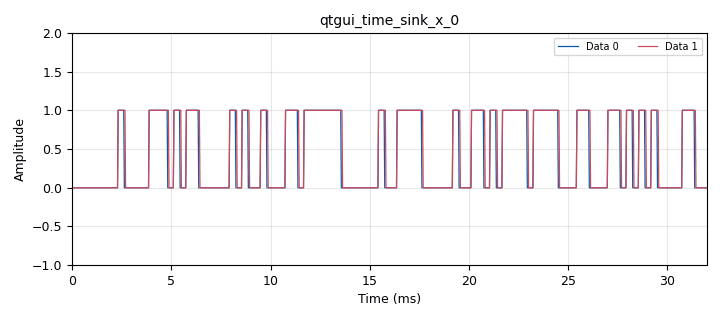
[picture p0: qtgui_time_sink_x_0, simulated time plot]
<?xml version='1.0' encoding='utf-8'?>
<?grc format='1' created='3.7.7'?>
<flow_graph>
<block>
<key>options</key>
<param><key>id</key><value>analog_dpll</value></param>
<param><key>generate_options</key><value>qt_gui</value></param>
<param><key>category</key><value>Custom</value></param>
<param><key>run_options</key><value>run</value></param>
</block>
<block>
<key>variable</key>
<param><key>id</key><value>samp_rate</value></param>
<param><key>value</key><value>32000</value></param>
</block>
<block>
<key>analog_random_source_x</key>
<param><key>id</key><value>analog_random_source_x_0</value></param>
<param><key>type</key><value>byte</value></param>
<param><key>min</key><value>0</value></param>
<param><key>max</key><value>2</value></param>
<param><key>num_samps</key><value>1000</value></param>
<param><key>repeat</key><value>True</value></param>
</block>
<block>
<key>blocks_repeat</key>
<param><key>id</key><value>blocks_repeat_0</value></param>
<param><key>type</key><value>byte</value></param>
<param><key>interp</key><value>10</value></param>
</block>
<block>
<key>blocks_char_to_float</key>
<param><key>id</key><value>blocks_char_to_float_0_0</value></param>
<param><key>scale</key><value>1</value></param>
</block>
<block>
<key>blocks_char_to_float</key>
<param><key>id</key><value>blocks_char_to_float_0</value></param>
<param><key>scale</key><value>1</value></param>
</block>
<block>
<key>analog_dpll_bb</key>
<param><key>id</key><value>analog_dpll_bb_0</value></param>
<param><key>period</key><value>1.0/1500</value></param>
<param><key>gain</key><value>1</value></param>
</block>
<block>
<key>blocks_throttle</key>
<param><key>id</key><value>blocks_throttle_0</value></param>
<param><key>type</key><value>byte</value></param>
<param><key>samples_per_second</key><value>samp_rate</value></param>
</block>
<block>
<key>qtgui_time_sink_x</key>
<param><key>id</key><value>qtgui_time_sink_x_0</value></param>
<param><key>type</key><value>float</value></param>
<param><key>name</key><value></value></param>
<param><key>size</key><value>1024</value></param>
<param><key>srate</key><value>samp_rate</value></param>
<param><key>ymax</key><value>2</value></param>
<param><key>nconnections</key><value>2</value></param>
<param><key>label1</key><value></value></param>
<param><key>color1</key><value>"blue"</value></param>
<param><key>label2</key><value></value></param>
<param><key>color2</key><value>"red"</value></param>
</block>
<connection><source_block_id>analog_random_source_x_0</source_block_id><sink_block_id>blocks_repeat_0</sink_block_id><source_key>0</source_key><sink_key>0</sink_key></connection>
<connection><source_block_id>blocks_repeat_0</source_block_id><sink_block_id>blocks_throttle_0</sink_block_id><source_key>0</source_key><sink_key>0</sink_key></connection>
<connection><source_block_id>blocks_char_to_float_0</source_block_id><sink_block_id>qtgui_time_sink_x_0</sink_block_id><source_key>0</source_key><sink_key>1</sink_key></connection>
<connection><source_block_id>blocks_char_to_float_0_0</source_block_id><sink_block_id>qtgui_time_sink_x_0</sink_block_id><source_key>0</source_key><sink_key>0</sink_key></connection>
<connection><source_block_id>analog_dpll_bb_0</source_block_id><sink_block_id>blocks_char_to_float_0</sink_block_id><source_key>0</source_key><sink_key>0</sink_key></connection>
<connection><source_block_id>blocks_throttle_0</source_block_id><sink_block_id>blocks_char_to_float_0_0</sink_block_id><source_key>0</source_key><sink_key>0</sink_key></connection>
<connection><source_block_id>blocks_throttle_0</source_block_id><sink_block_id>analog_dpll_bb_0</sink_block_id><source_key>0</source_key><sink_key>0</sink_key></connection>
</flow_graph>
